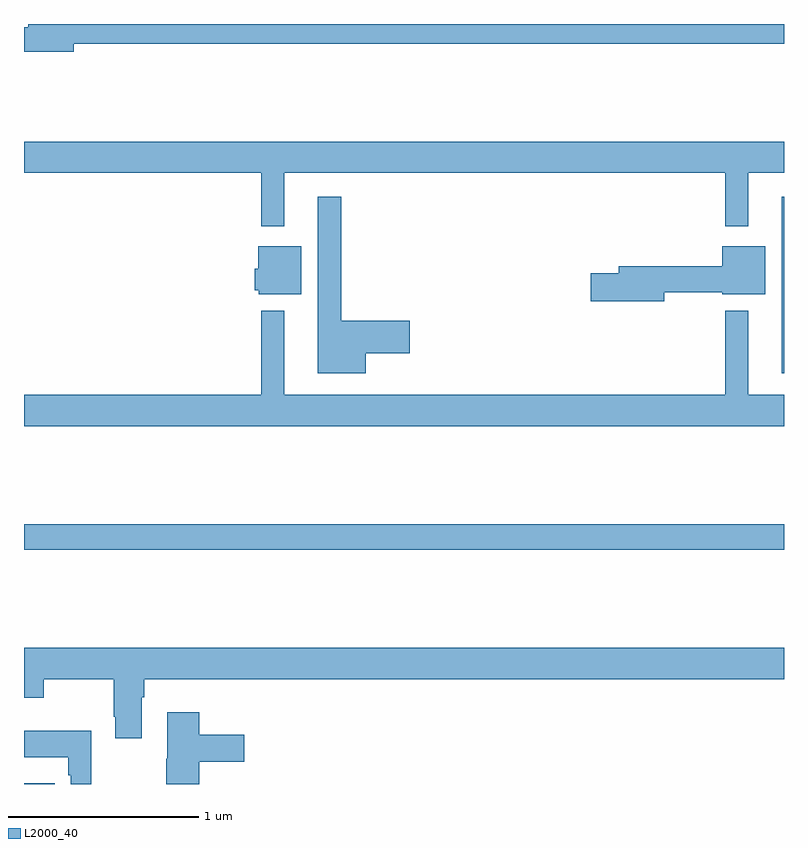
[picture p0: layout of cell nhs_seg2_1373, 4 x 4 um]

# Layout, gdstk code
import gdstk
lib = gdstk.Library(unit=1e-6, precision=1e-09)
def R(c, l, rs):  # rectangles x0, y0, x1, y1
    for r in rs: c.add(gdstk.rectangle(r[:2], r[2:], *l))
def P(c, l, *ps):  # polygons
    for p in ps: c.add(gdstk.Polygon(p, *l))
L2000_40 = (2000, 40)

nhs_seg2_1373 = lib.new_cell('nhs_seg2_1373')
R(nhs_seg2_1373, L2000_40, [(183,597.8,183.161,597.805), (183,599.032,187,599.168), (186.989,599.963,187,600.892)])
P(nhs_seg2_1373, L2000_40, [(183.262,601.696),(187,601.696),(187,601.8),(183.023,601.8),(183.023,601.783),(183,601.783),(183,601.654),(183.262,601.654)],
  [(184.369,601.016),(186.69,601.016),(186.69,600.735),(186.811,600.735),(186.811,601.016),(187,601.016),(187,601.18),(183,601.18),(183,601.016),(184.248,601.016),(184.248,600.735),(184.369,600.735)],
  [(184.798,600.068),(185.029,600.068),(185.029,600.239),(184.669,600.239),(184.669,600.892),(184.547,600.892),(184.547,599.963),(184.798,599.963)],
  [(184.459,600.631),(184.232,600.631),(184.232,600.513),(184.214,600.513),(184.214,600.399),(184.236,600.399),(184.236,600.377),(184.459,600.377)],
  [(186.37,600.388),(186.674,600.388),(186.674,600.377),(186.901,600.377),(186.901,600.631),(186.674,600.631),(186.674,600.524),(186.131,600.524),(186.131,600.488),(185.982,600.488),(185.982,600.341),(186.37,600.341)],
  [(187,599.848),(186.811,599.848),(186.811,600.292),(186.69,600.292),(186.69,599.848),(184.369,599.848),(184.369,600.292),(184.248,600.292),(184.248,599.848),(183,599.848),(183,599.684),(187,599.684)],
  [(183.619,598.256),(183.632,598.256),(183.632,598.352),(187,598.352),(187,598.516),(183,598.516),(183,598.253),(183.105,598.253),(183.105,598.352),(183.472,598.352),(183.472,598.153),(183.479,598.153),(183.479,598.041),(183.619,598.041)],
  [(183.923,597.917),(184.159,597.917),(184.159,598.059),(183.923,598.059),(183.923,598.177),(183.755,598.177),(183.755,597.933),(183.748,597.933),(183.748,597.8),(183.923,597.8)],
  [(183.355,598.081),(183,598.081),(183,597.941),(183.234,597.941),(183.234,597.845),(183.246,597.845),(183.246,597.8),(183.355,597.8)])

lib.write_gds('nhs_seg2_1373.gds')
